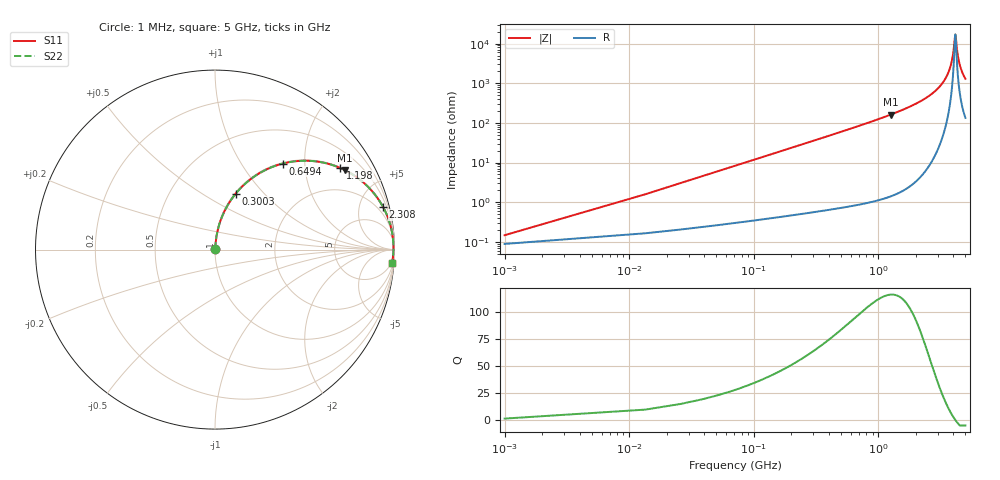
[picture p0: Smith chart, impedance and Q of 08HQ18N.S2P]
! Coilcraft 0805HQ-18N Chip Inductor
! 19 June 2002
# MHZ S MA R 50
!Freq  MagS11  AngS11  MagS21  AngS21  MagS12  AngS12  MagS22  AngS22
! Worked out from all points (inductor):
!   402 points, 1 MHz to 5 GHz, reference 50 ohm
!   read as one part in series: L = 18.6 nH near 25.94 MHz
!   highest Q = 116 at 1.26 GHz (marker M1), where L = 20.5 nH
!   self-resonance near 4.141 GHz
!   S11 on the Smith chart (normalised r, x): 1 MHz: 1.00, +0.00; 300.3 MHz: 1.01, +0.71; 649.4 MHz: 1.02, +1.56; 1.198 GHz: 1.03, +3.05; 2.308 GHz: 1.11, +7.80; 5 GHz: 4, -26
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1  0.001463 52.9  0.9991 -0.1  0.9991 -0.1  0.001463 52.9
38.41  0.0448 84.4  0.9967 -2.6  0.9967 -2.6  0.0448 84.4
75.82  0.08808 83.0  0.9931 -5.0  0.9931 -5.0  0.08808 83.0
163.11  0.1868 78.0  0.9783 -10.8  0.9783 -10.8  0.1868 78.0
300.28  0.3311 69.8  0.9384 -19.3  0.9384 -19.3  0.3311 69.8
649.44  0.6109 51.7  0.7852 -37.7  0.7852 -37.7  0.6109 51.7
836.49  0.7103 44.2  0.6971 -45.3  0.6971 -45.3  0.7103 44.2
1198.12  0.8333 33.1  0.5456 -56.4  0.5456 -56.4  0.8333 33.1
1260.47  0.8481 31.5  0.5226 -58.0  0.5226 -58.0  0.8481 31.5
1671.98  0.916 23.1  0.3928 -66.3  0.3928 -66.3  0.916 23.1
2307.95  0.9656 14.3  0.2474 -74.9  0.2474 -74.9  0.9656 14.3
2507.47  0.974 12.2  0.2112 -76.9  0.2112 -76.9  0.974 12.2
3342.96  0.9917 5.1  0.08944 -82.1  0.08944 -82.1  0.9917 5.1
3617.3  0.9936 3.3  0.05691 -81.9  0.05691 -81.9  0.9936 3.3
3829.29  0.9943 1.9  0.03368 -79.2  0.03368 -79.2  0.9943 1.9
3991.4  0.9944 0.9  0.01718 -70.4  0.01718 -70.4  0.9944 0.9
4128.57  0.9942 0.1  0.006275 -22.7  0.006275 -22.7  0.9942 0.1
4178.45  0.9941 -0.1  0.006393 22.7  0.006393 22.7  0.9941 -0.1
4315.62  0.9937 -0.9  0.01688 67.6  0.01688 67.6  0.9937 -0.9
4465.26  0.993 -1.7  0.03036 75.9  0.03036 75.9  0.993 -1.7
4689.72  0.9917 -2.9  0.05023 79.0  0.05023 79.0  0.9917 -2.9
5000  0.9892 -4.4  0.07641 79.7  0.07641 79.7  0.9892 -4.4
